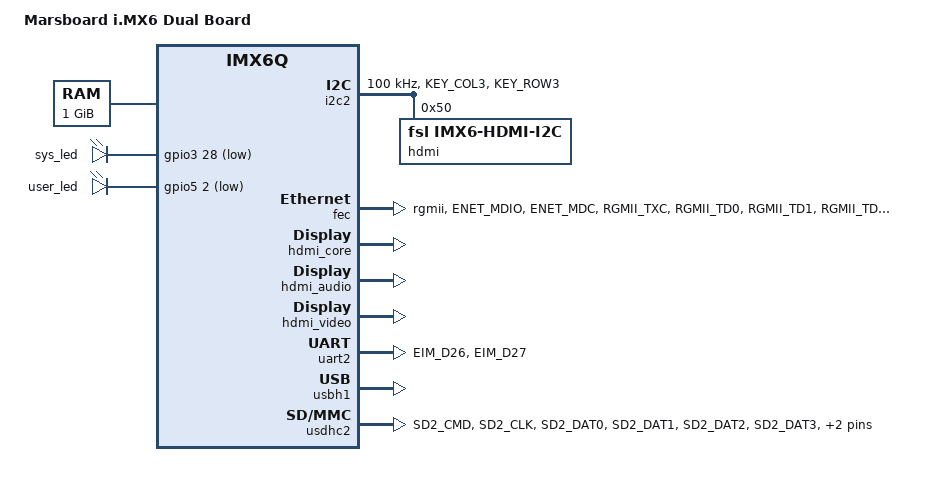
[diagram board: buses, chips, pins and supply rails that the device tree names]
/dts-v1/;

#include "imx6q.dtsi"

/ {
  	model = "Marsboard i.MX6 Dual Board";
	compatible = "embest,imx6q-marsboard", "fsl,imx6q";
	aliases {
		mxcfb0 = &mxcfb1;
		mxcfb1 = &mxcfb2;
		mxcfb2 = &mxcfb3;
		mxcfb3 = &mxcfb4;
	};

	memory {
		reg = <0x10000000 0x40000000>;
	};

	leds { /* see iomuxc definition below */
		compatible = "gpio-leds";
		sys_led {
			gpios = <&gpio3 28 GPIO_ACTIVE_LOW>;
			linux,default-trigger = "heartbeat";
		};
		user_led {
			gpios = <&gpio5 2 GPIO_ACTIVE_LOW>;
		};
	};
	
	sound-hdmi {
		compatible = "fsl,imx6q-audio-hdmi", "fsl,imx-audio-hdmi";
		model = "imx-audio-hdmi";
		hdmi-controller = <&hdmi_audio>;
		status = "okay";
	};

	mxcfb1: fb@0 {
		compatible = "fsl,mxc_sdc_fb";
		disp_dev = "hdmi";
		interface_pix_fmt = "RGB24";
		mode_str ="1280x720M@60";
		default_bpp = <32>;
		int_clk = <0>;
		late_init = <0>;
		status = "okay";
	};

	mxcfb2: fb@1 {
		compatible = "fsl,mxc_sdc_fb";
		disp_dev = "ldb";
		interface_pix_fmt = "RGB666";
		mode_str ="LDB-XGA";
		default_bpp = <16>;
		int_clk = <0>;
		late_init = <0>;
		status = "disabled";
	};

	mxcfb3: fb@2 {
		compatible = "fsl,mxc_sdc_fb";
		disp_dev = "lcd";
		interface_pix_fmt = "RGB565";
		mode_str ="CLAA-WVGA";
		default_bpp = <16>;
		int_clk = <0>;
		late_init = <0>;
		status = "disabled";
	};

	mxcfb4: fb@3 {
		compatible = "fsl,mxc_sdc_fb";
		disp_dev = "ldb";
		interface_pix_fmt = "RGB666";
		mode_str ="LDB-XGA";
		default_bpp = <16>;
		int_clk = <0>;
		late_init = <0>;
		status = "disabled";
	};

	v4l2_cap_0 {
		compatible = "fsl,imx6q-v4l2-capture";
		ipu_id = <0>;
		csi_id = <0>;
		mclk_source = <0>;
		status = "disabled";
	}; 

	v4l2_cap_1 {
		compatible = "fsl,imx6q-v4l2-capture";
		ipu_id = <0>;
		csi_id = <1>;
		mclk_source = <0>;
		status = "disabled";
	};

	v4l2_out { // v4l2 output support: /dev/video16 + /dev/video17
		compatible = "fsl,mxc_v4l2_output";
		status = "okay";
	};

};

&iomuxc {
	pinctrl-names = "default";
	pinctrl-0 = <&pinctrl_hog>;

	imx6q-marsboard {

		hog {
			pinctrl_hog: hoggrp {
			fsl,pins = < 
				/* gpio-leds */
				MX6QDL_PAD_EIM_D28__GPIO3_IO28 0x80000000
				MX6QDL_PAD_EIM_A25__GPIO5_IO02 0x80000000
			>;
			};
		};

		pinctrl_enet: enetgrp {
			fsl,pins = <
				MX6QDL_PAD_ENET_MDIO__ENET_MDIO       0x1b8b0
				MX6QDL_PAD_ENET_MDC__ENET_MDC         0x1b0b0
				MX6QDL_PAD_RGMII_TXC__RGMII_TXC       0x1b0b0
				MX6QDL_PAD_RGMII_TD0__RGMII_TD0       0x1b030
				MX6QDL_PAD_RGMII_TD1__RGMII_TD1       0x1b030
				MX6QDL_PAD_RGMII_TD2__RGMII_TD2       0x1b030
				MX6QDL_PAD_RGMII_TD3__RGMII_TD3       0x1b030
				MX6QDL_PAD_RGMII_TX_CTL__RGMII_TX_CTL 0x1b030
				MX6QDL_PAD_ENET_REF_CLK__ENET_TX_CLK  0x0a0b1
				MX6QDL_PAD_RGMII_RXC__RGMII_RXC       0x1b030 // AR8035 pin strapping: IO voltage: pull up
				MX6QDL_PAD_RGMII_RD0__RGMII_RD0       0x13030 // AR8035 pin strapping: PHYADDR#0: pull down
				MX6QDL_PAD_RGMII_RD1__RGMII_RD1       0x13030 // AR8035 pin strapping: PHYADDR#1: pull down
				MX6QDL_PAD_RGMII_RD2__RGMII_RD2       0x1b030 // AR8035 pin strapping: MODE#1: pull up
				MX6QDL_PAD_RGMII_RD3__RGMII_RD3       0x1b030 // AR8035 pin strapping: MODE#3: pull up 
				MX6QDL_PAD_RGMII_RX_CTL__RGMII_RX_CTL 0x13030 // AR8035 pin strapping: MODE#0: pull down
				MX6QDL_PAD_GPIO_16__ENET_REF_CLK      0x4001b0a8
				MX6QDL_PAD_ENET_TX_EN__GPIO1_IO28     0x180b0 // AR8035 interrupt
				MX6QDL_PAD_EIM_D31__GPIO3_IO31        0x130b0 // AR8035 reset
			>;
		};

		pinctrl_usdhc2: usdhc2grp {
			fsl,pins = <
				MX6QDL_PAD_SD2_CMD__SD2_CMD    0x17059
				MX6QDL_PAD_SD2_CLK__SD2_CLK    0x10059
				MX6QDL_PAD_SD2_DAT0__SD2_DATA0 0x17059
				MX6QDL_PAD_SD2_DAT1__SD2_DATA1 0x17059
				MX6QDL_PAD_SD2_DAT2__SD2_DATA2 0x17059
				MX6QDL_PAD_SD2_DAT3__SD2_DATA3 0x17059
			>;
		};

		pinctrl_usdhc3: usdhc3grp {
			fsl,pins = <
				MX6QDL_PAD_SD3_CMD__SD3_CMD    0x17059
				MX6QDL_PAD_SD3_CLK__SD3_CLK    0x10059
				MX6QDL_PAD_SD3_DAT0__SD3_DATA0 0x17059
				MX6QDL_PAD_SD3_DAT1__SD3_DATA1 0x17059
				MX6QDL_PAD_SD3_DAT2__SD3_DATA2 0x17059
				MX6QDL_PAD_SD3_DAT3__SD3_DATA3 0x17059
			>;
		};

		pinctrl_i2c2: i2c2grp {
			fsl,pins = <
				MX6QDL_PAD_KEY_COL3__I2C2_SCL 0x4001b8b1
				MX6QDL_PAD_KEY_ROW3__I2C2_SDA 0x4001b8b1
			>;
		};

		pinctrl_uart1: uart1grp {
			fsl,pins = <
				MX6QDL_PAD_CSI0_DAT10__UART1_TX_DATA 0x1b0b1
				MX6QDL_PAD_CSI0_DAT11__UART1_RX_DATA 0x1b0b1
			>;
		};

		pinctrl_uart2: uart2grp {
			fsl,pins = <
				MX6QDL_PAD_EIM_D26__UART2_TX_DATA 0x1b0b1
				MX6QDL_PAD_EIM_D27__UART2_RX_DATA 0x1b0b1
			>;
		};

		pinctrl_uart3: uart3grp {
			fsl,pins = <
				MX6QDL_PAD_SD4_CLK__UART3_RX_DATA 0x1b0b1
				MX6QDL_PAD_SD4_CMD__UART3_TX_DATA 0x1b0b1
				MX6QDL_PAD_EIM_D30__UART3_CTS_B   0x1b0b1
				MX6QDL_PAD_EIM_EB3__UART3_RTS_B   0x1b0b1
			>;
		};
	};
};


// part of HDMI (J1)
&i2c2 {
	clock-frequency = <100000>;
	pinctrl-names = "default";
	pinctrl-0 = <&pinctrl_i2c2>;
	status = "okay";

	hdmi: edid@50 {
		compatible = "fsl,imx6-hdmi-i2c";
		reg = <0x50>;
	};
};


&cpu0 {
	arm-supply = <&reg_arm>;
	soc-supply = <&reg_soc>;
	pu-supply = <&reg_pu>; /* use pu_dummy if VDDSOC share with VDDPU */
};


&gpc {
	fsl,ldo-bypass = <0>; /* use ldo-bypass, u-boot will check it and configure */
	fsl,wdog-reset = <1>; /* watchdog select of reset source */
	pu-supply = <&reg_pu>; /* ldo-bypass:use pu_dummy if VDDSOC share with VDDPU */
};


&vpu {
	pu-supply = <&reg_pu>; /* ldo-bypass:use pu_dummy if VDDSOC share with VDDPU */
};


&fec {
	pinctrl-names = "default";
	pinctrl-0 = <&pinctrl_enet>;
	phy-mode = "rgmii";
	phy-reset-duration = <10>;
	phy-reset-gpios = <&gpio3 31 0>;
	status = "okay";
};


&hdmi_core {
	ipu_id = <1>;
	disp_id = <0>;
	status = "okay";
};


&hdmi_audio {
	status = "okay";
};


&hdmi_video {
	fsl,phy_reg_vlev = <0x0294>;
	fsl,phy_reg_cksymtx = <0x800d>;
	status = "okay";
};


&mxcfb1 {
	status = "okay";
};


// this is debug com
&uart2 {
	pinctrl-names = "default";
	pinctrl-0 = <&pinctrl_uart2>;
	status = "okay";
};


&usbh1 {
	status = "okay";
};


// micro-SD card J13
&usdhc2 {
	pinctrl-names = "default";
	pinctrl-0 = <&pinctrl_usdhc2>;
	cd-gpios = <&gpio1 4 0>;
	wp-gpios = <&gpio1 2 0>;
	status = "okay";
};


// on-board eMMC
&usdhc3 {
	pinctrl-names = "default";
	pinctrl-0 = <&pinctrl_usdhc3>;
	non-removable;
	status = "disabled";	// does not work. TODO: fix it!
};

